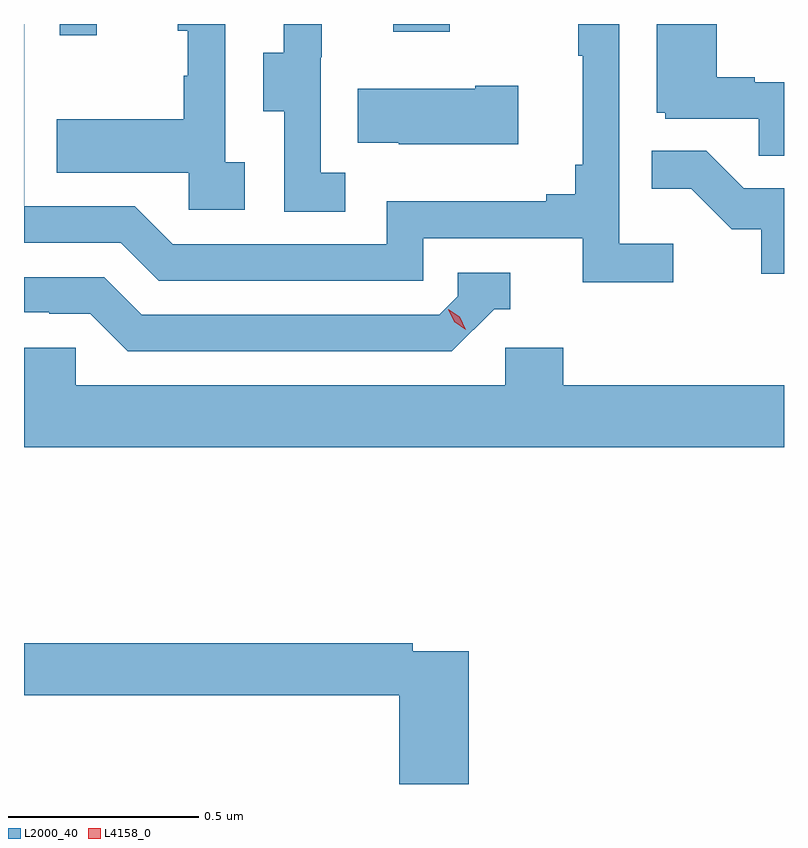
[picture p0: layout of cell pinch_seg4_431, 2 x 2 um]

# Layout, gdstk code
import gdstk
lib = gdstk.Library(unit=1e-6, precision=1e-09)
def R(c, l, rs):  # rectangles x0, y0, x1, y1
    for r in rs: c.add(gdstk.rectangle(r[:2], r[2:], *l))
def P(c, l, *ps):  # polygons
    for p in ps: c.add(gdstk.Polygon(p, *l))
L2000_40 = (2000, 40)
L4158_0 = (4158, 0)

pinch_seg4_431 = lib.new_cell('pinch_seg4_431')
R(pinch_seg4_431, L2000_40, [(913.689,789.912,913.787,789.942), (914.567,789.921,914.715,789.942)])
P(pinch_seg4_431, L2000_40, [(914.44,789.551),(914.376,789.551),(914.376,789.855),(914.378,789.855),(914.378,789.942),(914.279,789.942),(914.279,789.867),(914.225,789.867),(914.225,789.712),(914.28,789.712),(914.28,789.448),(914.44,789.448)],
  [(914.176,789.578),(914.124,789.578),(914.124,789.942),(914,789.942),(914,789.924),(914.026,789.924),(914.026,789.806),(914.016,789.806),(914.016,789.691),(913.681,789.691),(913.681,789.551),(914.028,789.551),(914.028,789.453),(914.176,789.453)],
  [(915.304,789.364),(915.162,789.364),(915.162,789.942),(915.054,789.942),(915.054,789.859),(915.065,789.859),(915.065,789.571),(915.046,789.571),(915.046,789.494),(914.969,789.494),(914.969,789.475),(914.55,789.475),(914.55,789.363),(913.986,789.363),(913.887,789.462),(913.596,789.462),(913.596,789.942),(913.595,789.942),(913.595,789.366),(913.85,789.366),(913.949,789.267),(914.646,789.267),(914.646,789.378),(915.065,789.378),(915.065,789.262),(915.304,789.262)],
  [(915.595,789.789),(915.518,789.789),(915.518,789.802),(915.418,789.802),(915.418,789.942),(915.26,789.942),(915.26,789.708),(915.282,789.708),(915.282,789.693),(915.529,789.693),(915.529,789.595),(915.595,789.595)],
  [(914.896,789.78),(914.783,789.78),(914.783,789.772),(914.473,789.772),(914.473,789.629),(914.581,789.629),(914.581,789.626),(914.896,789.626)],
  [(915.595,789.51),(915.489,789.51),(915.391,789.608),(915.247,789.608),(915.247,789.509),(915.351,789.509),(915.458,789.402),(915.535,789.402),(915.535,789.285),(915.595,789.285)],
  [(914.832,789.192),(914.875,789.192),(914.875,789.288),(914.736,789.288),(914.736,789.225),(914.688,789.177),(913.905,789.177),(913.806,789.276),(913.595,789.276),(913.595,789.183),(913.662,789.183),(913.662,789.18),(913.769,789.18),(913.868,789.081),(914.721,789.081)],
  [(915.595,788.992),(915.014,788.992),(915.014,789.09),(914.862,789.09),(914.862,788.992),(913.731,788.992),(913.731,789.09),(913.595,789.09),(913.595,788.828),(915.595,788.828)],
  [(914.765,788.292),(914.618,788.292),(914.618,788.312),(913.595,788.312),(913.595,788.176),(914.582,788.176),(914.582,787.942),(914.765,787.942)])
P(pinch_seg4_431, L4158_0, [(914.758,789.138),(914.727,789.158),(914.712,789.191),(914.712,789.191),(914.712,789.191),(914.742,789.171),(914.758,789.138),(914.758,789.138)])

lib.write_gds('pinch_seg4_431.gds')
